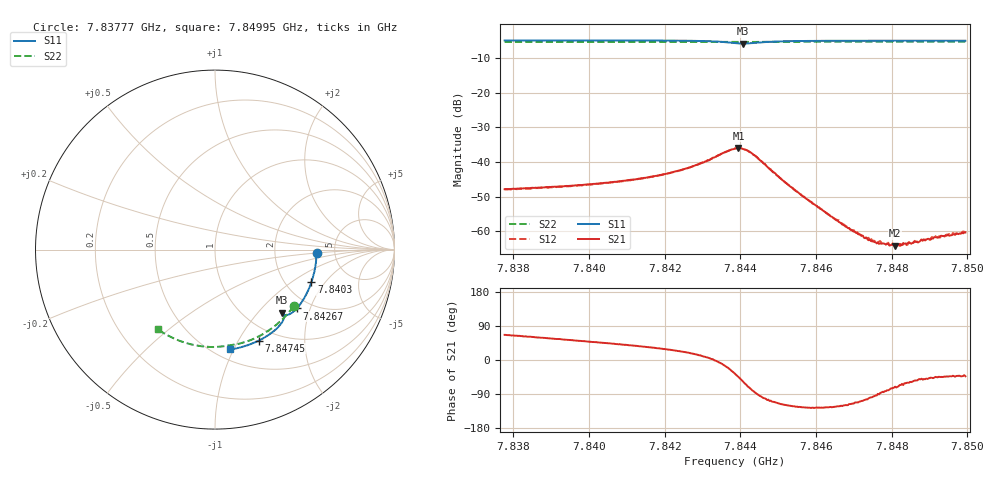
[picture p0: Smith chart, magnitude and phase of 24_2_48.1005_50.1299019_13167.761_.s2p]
#  HZ  S  RI  R  50.00
! Rohde & Schwarz Vector Network Analyzer
! Rohde-Schwarz,ZNB20-2Port,1311601062101988,3.16
! Created: UTC 12/23/2023, 3:36:59 AM
! freq[Hz]  re:S11  im:S11  re:S21  im:S21  re:S12  im:S12  re:S22  im:S22
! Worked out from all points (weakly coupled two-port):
!   401 points, 7.83777 GHz to 7.84995 GHz, reference 50 ohm
!   highest |S21| = -35.97 dB at 7.84395 GHz (marker M1); lowest = -64.2 dB at 7.84809 GHz (marker M2)
!   lowest |S11| = -5.8 dB at 7.84407 GHz (marker M3), VSWR 3.10, Z = 71.3 - j68 ohm
!   |S11| at or under -10 dB: nowhere
!   |S22| runs from -5.4 to -5.3 dB; largest |S21 - S12| = 0.0003
!   S11 on the Smith chart (normalised r, x): 7.83777 GHz: 3.61, -0.17; 7.8403 GHz: 2.74, -1.47; 7.84267 GHz: 1.70, -1.62; 7.84745 GHz: 0.82, -1.22; 7.84995 GHz: 0.59, -0.97
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7.837769e9  0.5665 -0.0164  0.00163 0.0037  0.00164 0.00365  0.4379 -0.3158
7.839809e9  0.5467 -0.1508  0.00297 0.00354  0.00291 0.00355  0.3405 -0.4199
7.840296e9  0.5369 -0.1823  0.00341 0.00352  0.00336 0.00348  0.3134 -0.4409
7.841849e9  0.4917 -0.2793  0.0055 0.00329  0.00545 0.0033  0.219 -0.495
7.842671e9  0.4559 -0.3278  0.00795 0.00261  0.00791 0.00264  0.1649 -0.5159
7.843401e9  0.4085 -0.3627  0.0124 -0.000905  0.0122 -0.000919  0.1147 -0.5282
7.843858e9  0.3748 -0.36  0.0126 -0.00931  0.0126 -0.00917  0.0844 -0.5324
7.843949e9  0.3722 -0.3562  0.0113 -0.0112  0.0111 -0.0112  0.0787 -0.5331
7.844071e9  0.3728 -0.3515  0.00825 -0.0129  0.00849 -0.0129  0.071 -0.5342
7.844223e9  0.3776 -0.3506  0.00449 -0.0135  0.00444 -0.0134  0.0615 -0.5358
7.844375e9  0.3831 -0.356  0.0011 -0.0124  0.00124 -0.0123  0.0517 -0.5378
7.845258e9  0.3659 -0.4161  -0.00234 -0.00407  -0.00233 -0.00412  -0.0102 -0.543
7.845898e9  0.3332 -0.4495  -0.00148 -0.00205  -0.0015 -0.00211  -0.0553 -0.5409
7.846902e9  0.2761 -0.4899  -0.000466 -0.000942  -0.000478 -0.000957  -0.1254 -0.5298
7.84745e9  0.2433 -0.5075  -0.000109 -0.000714  -0.000156 -0.000786  -0.1625 -0.52
7.847542e9  0.2377 -0.5103  -6.42e-05 -0.000693  -5.74e-05 -0.000723  -0.1685 -0.518
7.847938e9  0.2132 -0.5212  0.000126 -0.000613  0.000143 -0.000605  -0.1948 -0.5092
7.84809e9  0.2038 -0.525  0.000207 -0.000583  0.000234 -0.000595  -0.2048 -0.5052
7.848455e9  0.1807 -0.5332  0.000347 -0.000602  0.000371 -0.000579  -0.2282 -0.4955
7.848729e9  0.1632 -0.5389  0.00045 -0.000542  0.000438 -0.000596  -0.2458 -0.487
7.849338e9  0.1239 -0.5492  0.000604 -0.000603  0.000607 -0.000604  -0.2834 -0.4665
7.849947e9  0.084 -0.5564  0.000701 -0.000651  0.000727 -0.000637  -0.319 -0.4433
